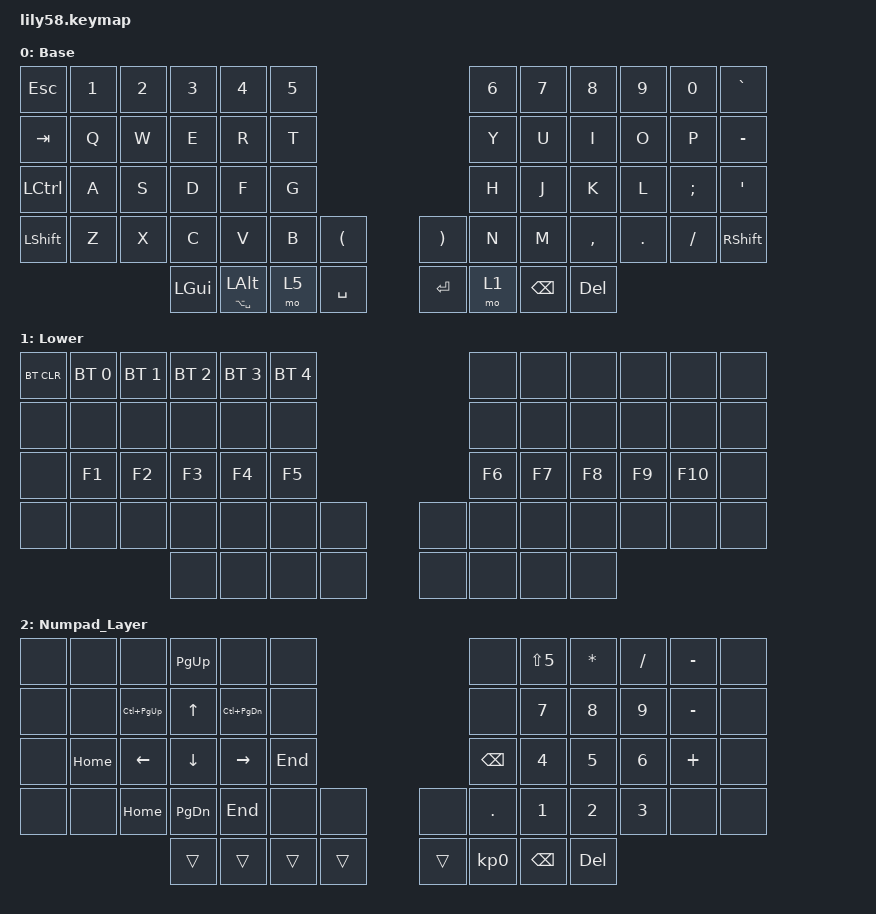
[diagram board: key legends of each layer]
/*
 * Copyright (c) 2020 The ZMK Contributors
 *
 * SPDX-License-Identifier: MIT
 */

#include <behaviors.dtsi>
#include <dt-bindings/zmk/bt.h>
#include <dt-bindings/zmk/keys.h>

&mt { tapping-term-ms = <400>; };

/ {
    keymap {
        compatible = "zmk,keymap";

        default_layer {
            // ------------------------------------------------------------------------------------------------------------
            // |  ESC  |  1  |  2  |  3   |  4   |  5   |                   |  6   |  7    |  8    |  9   |   0   |   `   |
            // |  TAB  |  Q  |  W  |  E   |  R   |  T   |                   |  Y   |  U    |  I    |  O   |   P   |   -   |
            // |  CTRL |  A  |  S  |  D   |  F   |  G   |                   |  H   |  J    |  K    |  L   |   ;   |   '   |
            // | SHIFT |  Z  |  X  |  C   |  V   |  B   |   "["  |  |  "]"  |  N   |  M    |  ,    |  .   |   /   | SHIFT |
            //                     | ALT  | GUI  | LOWER|  SPACE |  | ENTER | RAISE| BSPC  | GUI   |

            display-name = "Base";
            bindings = <
&kp ESC    &kp N1  &kp N2  &kp N3        &kp N4                  &kp N5                                                 &kp N6  &kp N7    &kp N8     &kp N9   &kp N0         &kp GRAVE
&kp TAB    &kp Q   &kp W   &kp E         &kp R                   &kp T                                                  &kp Y   &kp U     &kp I      &kp O    &kp P          &kp MINUS
&kp LCTRL  &kp A   &kp S   &kp D         &kp F                   &kp G                                                  &kp H   &kp J     &kp K      &kp L    &kp SEMICOLON  &kp SQT
&kp LSHFT  &kp Z   &kp X   &kp C         &kp V                   &kp B   &kp LEFT_PARENTHESIS    &kp RIGHT_PARENTHESIS  &kp N   &kp M     &kp COMMA  &kp DOT  &kp FSLH       &kp RSHFT
                           &kp LEFT_GUI  &mt LA(SPACE) LEFT_ALT  &mo 5   &kp SPACE               &kp RET                &mo 1   &kp BSPC  &kp DEL
            >;
        };

        lower_layer {
            // ------------------------------------------------------------------------------------------------------------
            // | BTCLR | BT1 | BT2 |  BT3 |  BT4 |  BT5 |                   |      |       |       |      |       |       |
            // |  F1   |  F2 |  F3 |  F4  |  F5  |  F6  |                   |  F7  |  F8   |  F9   |  F10 |  F11  |  F12  |
            // |   `   |  !  |  @  |  #   |  $   |  %   |                   |  ^   |  &    |  *    |  (   |   )   |   ~   |
            // |       |     |     |      |      |      |        |  |       |      |  _    |  +    |  {   |   }   |  "|"  |
            //                     |      |      |      |        |  |       |      |       |       |

            display-name = "Lower";
            bindings = <
&bt BT_CLR  &bt BT_SEL 0  &bt BT_SEL 1  &bt BT_SEL 2  &bt BT_SEL 3  &bt BT_SEL 4                  &none   &none   &none   &none   &none    &none
&none       &none         &none         &none         &none         &none                         &none   &none   &none   &none   &none    &none
&none       &kp F1        &kp F2        &kp F3        &kp F4        &kp F5                        &kp F6  &kp F7  &kp F8  &kp F9  &kp F10  &none
&none       &none         &none         &none         &none         &none         &none    &none  &none   &none   &none   &none   &none    &none
                                        &none         &none         &none         &none    &none  &none   &none   &none
            >;
        };

        Extra_1 { status = "reserved"; };

        extra_2 { status = "reserved"; };

        extra_3 { status = "reserved"; };

        Numpad_Layer {
            bindings = <
&none  &none     &none          &kp PG_UP  &none          &none                      &none            &kp LS(N5)  &kp STAR  &kp FSLH  &kp MINUS  &none
&none  &none     &kp LC(PG_UP)  &kp UP     &kp LC(PG_DN)  &none                      &none            &kp N7      &kp N8    &kp N9    &kp MINUS  &none
&none  &kp HOME  &kp LEFT       &kp DOWN   &kp RIGHT      &kp END                    &kp BSPC         &kp N4      &kp N5    &kp N6    &kp PLUS   &none
&none  &none     &kp HOME       &kp PG_DN  &kp END        &none    &none     &none   &kp DOT          &kp N1      &kp N2    &kp N3    &none      &none
                                &trans     &trans         &trans   &trans    &trans  &kp KP_NUMBER_0  &kp BSPC    &kp DEL
            >;
        };
    };
};
